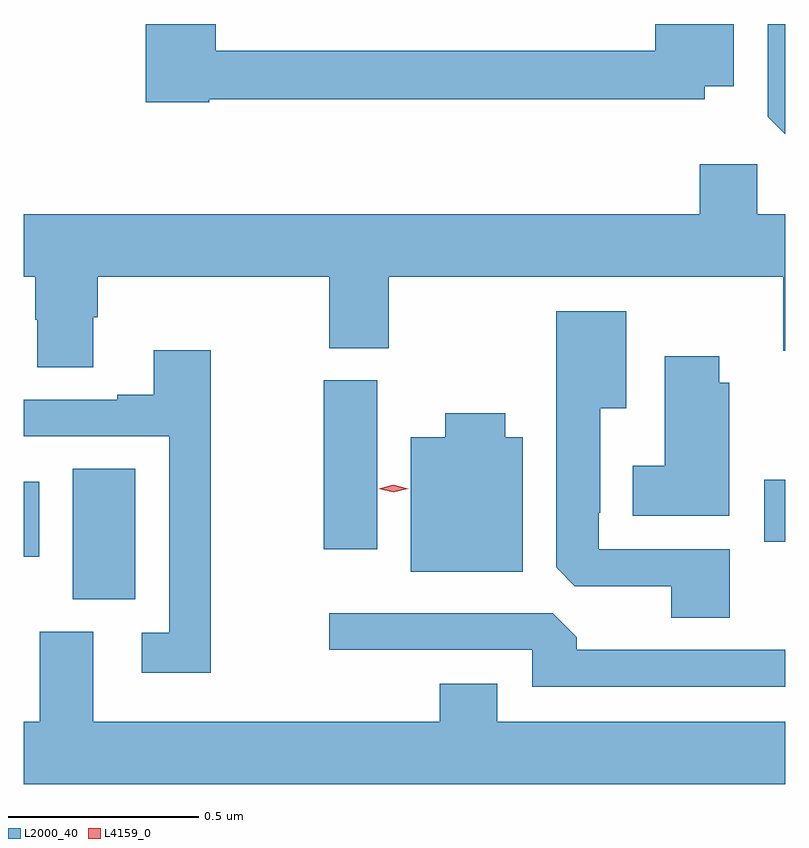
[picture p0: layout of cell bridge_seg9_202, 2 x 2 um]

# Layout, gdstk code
import gdstk
lib = gdstk.Library(unit=1e-6, precision=1e-09)
def R(c, l, rs):  # rectangles x0, y0, x1, y1
    for r in rs: c.add(gdstk.rectangle(r[:2], r[2:], *l))
def P(c, l, *ps):  # polygons
    for p in ps: c.add(gdstk.Polygon(p, *l))
L2000_40 = (2000, 40)
L4159_0 = (4159, 0)

bridge_seg9_202 = lib.new_cell('bridge_seg9_202')
R(bridge_seg9_202, L2000_40, [(204.656,1203.565,204.82,1203.908), (204.527,1203.677,204.568,1203.874), (205.315,1203.696,205.456,1204.14), (206.472,1203.716,206.527,1203.879)])
P(bridge_seg9_202, L2000_40, [(205.014,1204.878),(206.316,1204.878),(206.316,1204.913),(206.392,1204.913),(206.392,1205.076),(206.185,1205.076),(206.185,1205.006),(205.031,1205.006),(205.031,1205.076),(204.848,1205.076),(204.848,1204.87),(205.014,1204.87)],
  [(206.527,1205.076),(206.481,1205.076),(206.481,1204.833),(206.527,1204.787)],
  [(204.709,1204.306),(204.722,1204.306),(204.722,1204.412),(205.33,1204.412),(205.33,1204.225),(205.485,1204.225),(205.485,1204.412),(206.522,1204.412),(206.522,1204.218),(206.527,1204.218),(206.527,1204.576),(206.454,1204.576),(206.454,1204.708),(206.303,1204.708),(206.303,1204.576),(204.527,1204.576),(204.527,1204.412),(204.557,1204.412),(204.557,1204.299),(204.562,1204.299),(204.562,1204.174),(204.709,1204.174)],
  [(206.381,1203.696),(206.037,1203.696),(206.037,1203.793),(206.041,1203.793),(206.041,1204.067),(206.11,1204.067),(206.11,1204.321),(205.925,1204.321),(205.925,1203.649),(205.974,1203.6),(206.228,1203.6),(206.228,1203.517),(206.381,1203.517)],
  [(205.018,1204.219),(204.869,1204.219),(204.869,1204.102),(204.773,1204.102),(204.773,1204.089),(204.527,1204.089),(204.527,1203.993),(204.909,1203.993),(204.909,1203.477),(204.837,1203.477),(204.837,1203.372),(205.018,1203.372)],
  [(206.38,1204.134),(206.353,1204.134),(206.353,1204.204),(206.21,1204.204),(206.21,1203.916),(206.126,1203.916),(206.126,1203.785),(206.38,1203.785)],
  [(205.837,1203.991),(205.792,1203.991),(205.792,1204.054),(205.634,1204.054),(205.634,1203.991),(205.544,1203.991),(205.544,1203.638),(205.837,1203.638)],
  [(206.527,1203.432),(205.979,1203.432),(205.979,1203.466),(205.917,1203.528),(205.329,1203.528),(205.329,1203.432),(205.863,1203.432),(205.863,1203.336),(206.527,1203.336)],
  [(206.527,1203.244),(205.771,1203.244),(205.771,1203.343),(205.619,1203.343),(205.619,1203.244),(204.709,1203.244),(204.709,1203.48),(204.569,1203.48),(204.569,1203.244),(204.527,1203.244),(204.527,1203.08),(206.527,1203.08)])
P(bridge_seg9_202, L4159_0, [(205.498,1203.846),(205.46,1203.855),(205.46,1203.856),(205.46,1203.856),(205.498,1203.866),(205.537,1203.856),(205.537,1203.856),(205.537,1203.856)])

lib.write_gds('bridge_seg9_202.gds')
